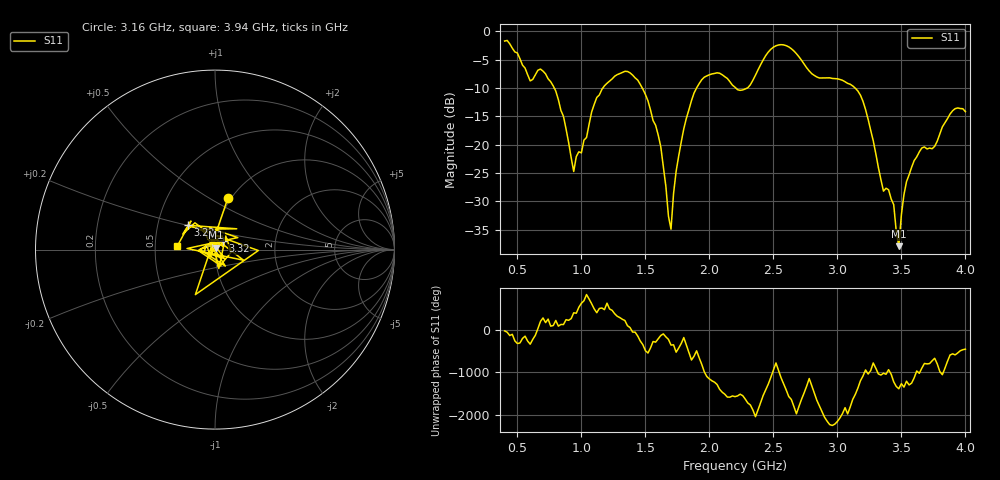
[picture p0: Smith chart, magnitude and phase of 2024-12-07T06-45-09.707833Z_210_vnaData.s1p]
!Created with skrf (http://scikit-rf.org).
# Hz S RI R 50.0
!freq ReS11 ImS11
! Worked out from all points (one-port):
!   181 points, 400 MHz to 4 GHz, reference 50 ohm
!   lowest |S11| = -37.9 dB at 3.48 GHz (marker M1), VSWR 1.03, Z = 50.6 + j1.13 ohm
!   |S11| at or under -10 dB: 787.9 MHz to 1.168 GHz (379.6 MHz wide, 38.8 % of centre); 1.476 GHz to 1.9 GHz (424.1 MHz wide, 25.1 % of centre); 3.139 GHz to end of sweep (the widest 3 of 4)
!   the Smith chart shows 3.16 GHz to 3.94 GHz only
!   S11 on the Smith chart (normalised r, x): 3.16 GHz: 0.97, +0.61; 3.22 GHz: 0.71, +0.20; 3.32 GHz: 1.08, +0.10; 3.94 GHz: 0.65, +0.03
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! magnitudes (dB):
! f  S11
! 400 MHz  -1.7
! 600 MHz  -8.7
! 720 MHz  -7.5
! 860 MHz  -15.0
! 940 MHz  -24.7
! 1.12 GHz  -11.7
! 1.3 GHz  -7.4
! 1.52 GHz  -12.2
! 1.62 GHz  -20.3
! 1.7 GHz  -34.9
! 1.76 GHz  -22.0
! 1.86 GHz  -12.2
! 1.94 GHz  -8.5
! 2.2 GHz  -9.9
! 2.3 GHz  -10.0
! 2.5 GHz  -2.8
! 2.66 GHz  -3.5
! 2.84 GHz  -8.1
! 3.1 GHz  -9.3
! 3.16 GHz  -10.5
! 3.22 GHz  -13.8
! 3.32 GHz  -24.0
! 3.44 GHz  -30.6
! 3.48 GHz  -37.9
! 3.52 GHz  -28.8
! 3.56 GHz  -25.3
! 3.94 GHz  -13.5
! 4 GHz  -14.2
